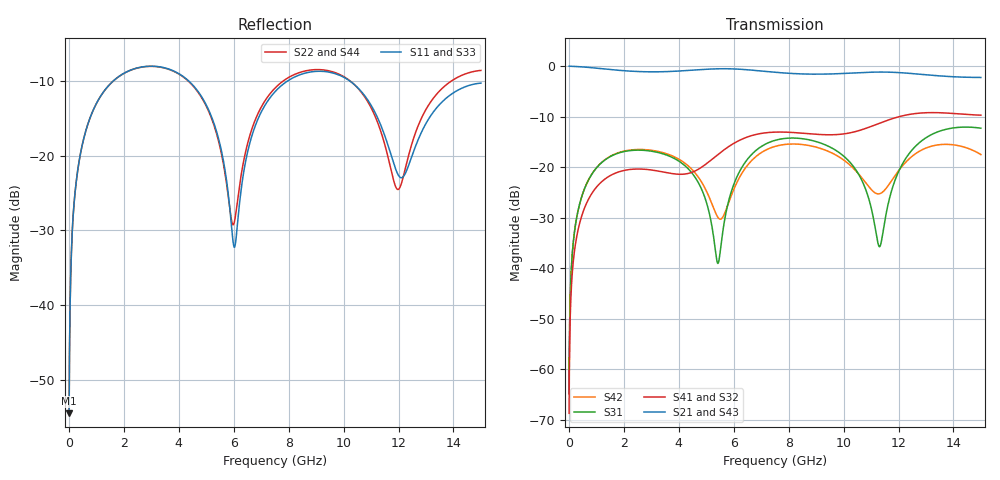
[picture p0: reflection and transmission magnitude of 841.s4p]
! Created with skrf 1.8.0 (http://scikit-rf.org).
# GHz S RI R 50.0
!freq ReS11 ImS11 ReS12 ImS12 ReS13 ImS13
! ReS14 ImS14
! ReS21 ImS21 ReS22 ImS22 ReS23 ImS23
! ReS24 ImS24
! ReS31 ImS31 ReS32 ImS32 ReS33 ImS33
! ReS34 ImS34
! ReS41 ImS41 ReS42 ImS42 ReS43 ImS43
! ReS44 ImS44
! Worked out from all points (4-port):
!   2499 points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, 5 MHz to 15 GHz, reference 50 ohm
!   strongest paths, dB at 5 MHz, 3.476 GHz, 7.19 GHz, 11.1 GHz, 15 GHz:
!     S21: 0.0, -1.1, -1.1, -1.2, -2.2
!     S43: 0.0, -1.1, -1.1, -1.2, -2.2
!     S41: -68.7, -21.0, -13.2, -11.7, -9.7
!     S32: -68.7, -21.0, -13.2, -11.7, -9.8
!     S31: -64.8, -17.5, -15.3, -30.4, -12.3
!     S42: -64.8, -17.2, -16.5, -24.9, -17.5
!   lowest |S11| = -54.5 dB at 5 MHz (marker M1), VSWR 1.00, Z = 50.1 + j0.115 ohm
!   |S11| at or under -10 dB: start of sweep to 1.612 GHz; 4.359 GHz to 7.962 GHz (3.602 GHz wide, 58.5 % of centre); 10.23 GHz to end of sweep
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0.005  0.0015 0.00114  0.9985 -0.00292  7.39e-05 0.000568  -7.2e-05 -0.00036
       0.9985 -0.00292  0.0015 0.00114  -7.2e-05 -0.00036  7.39e-05 0.000568
       7.39e-05 0.000568  -7.2e-05 -0.00036  0.0015 0.00114  0.9985 -0.00292
       -7.2e-05 -0.00036  7.39e-05 0.000568  0.9985 -0.00292  0.0015 0.00114
0.3126303  0.0206 0.0757  0.972 -0.1821  0.00886 0.0341  -0.00751 -0.0214
           0.972 -0.1821  0.0206 0.0757  -0.00751 -0.0214  0.00906 0.034
           0.00886 0.0341  -0.00751 -0.0214  0.0206 0.0757  0.972 -0.1821
           -0.00751 -0.0214  0.00906 0.034  0.972 -0.1821  0.0206 0.0757
1.569404  0.2475 0.1882  0.5996 -0.6996  0.1122 0.0659  -0.0832 -0.0142
          0.5996 -0.6996  0.2468 0.1886  -0.0831 -0.0143  0.1151 0.0624
          0.1122 0.0659  -0.0831 -0.0143  0.2476 0.1882  0.5996 -0.6996
          -0.0832 -0.0142  0.1151 0.0624  0.5996 -0.6996  0.2467 0.1886
5.821175  0.0271 -0.0436  -0.9289 -0.1491  0.0172 0.0438  -0.022 0.1587
          -0.9289 -0.1491  0.036 -0.0343  -0.0233 0.1585  -0.0281 0.0352
          0.0172 0.0438  -0.0233 0.1585  0.0279 -0.0448  -0.9287 -0.1496
          -0.022 0.1587  -0.0281 0.0352  -0.9287 -0.1496  0.0357 -0.0357
9.347645  0.3636 -0.0331  0.028 0.8334  0.1323 -0.0997  0.1976 -0.0692
          0.028 0.8334  0.3692 -0.0545  0.1974 -0.0657  0.1264 -0.0752
          0.1323 -0.0997  0.1974 -0.0657  0.3614 -0.036  0.0285 0.8344
          0.1976 -0.0692  0.1264 -0.0752  0.0285 0.8344  0.3662 -0.0519
11.31096  0.1174 -0.1192  0.7515 0.4447  -0.0163 0.000947  0.1312 -0.2387
          0.7515 0.4447  0.0994 -0.1171  0.1361 -0.236  -0.0536 -0.0104
          -0.0163 0.000947  0.1361 -0.236  0.1131 -0.1181  0.7529 0.4434
          0.1312 -0.2387  -0.0536 -0.0104  0.7529 0.4434  0.0999 -0.1131
15  0.3041 0.0338  0.1813 -0.7504  0.1762 -0.1674  -0.3268 -0.0108
    0.1813 -0.7504  0.372 0.00285  -0.3249 -0.0184  0.1307 -0.0261
    0.1762 -0.1674  -0.3249 -0.0184  0.3054 0.03  0.1796 -0.751
    -0.3268 -0.0108  0.1307 -0.0261  0.1796 -0.751  0.37 0.00371
